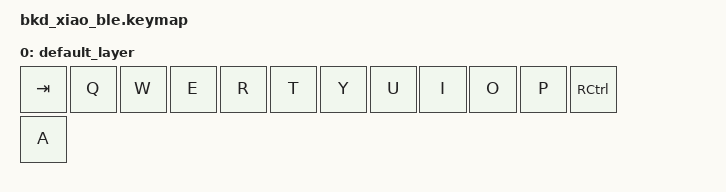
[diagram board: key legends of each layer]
/*
 * Copyright (c) 2024 The ZMK Contributors
 *
 * SPDX-License-Identifier: MIT
 */

#include <behaviors.dtsi>
#include <dt-bindings/zmk/keys.h>
#include <dt-bindings/zmk/bt.h>

#define KP_MUL KP_MULTIPLY
#define KP_DIV KP_DIVIDE

// -----------------------------------------------------------------------------------------
// | 0   | 1   | 2   | 3   | 4   | 5   |   | 6   | 7   | 8   | 9   | 10  | 11  |
// | 12  | 13  | 14  | 15  | 16  | 17  |   | 18  | 19  | 20  | 21  | 22  | 23  |
// | 24  | 25  | 26  | 27  | 28  | 29  |   | 30  | 31  | 32  | 33  | 34  | 35  |
//                   | 36  | 37  | 38  |   | 39  | 40  | 41  |

#define KEYS_L 0 1 2 3 4 5  12
#define KEYS_R 6 7 8 9 10 11
/ {
	chosen {
		zmk,matrix_transform = &tbk_mini_transform;
	};

	keymap {
		compatible = "zmk,keymap";

		default_layer {
// |  TAB |  Q  |  W  |  E  |  R  |  T  |   |  Y  |  U   |  I  |  O  |  P  | CTRL |
// | BSPC |  A  |  S  |  D  |  F  |  G  |   |  H  |  J   |  K  |  L  |  ;  |  '   |
// | ESC  |  Z  |  X  |  C  |  V  |  B  |   |  N  |  M   |  ,  |  .  |  /  | RET  |
			bindings = <
&kp TAB   &kp Q     &kp W     &kp E  &kp R  &kp T    &kp Y   &kp U     &kp I     &kp O   &kp P    &kp RCTRL
&kp A    
			>;
		};

	};
};
